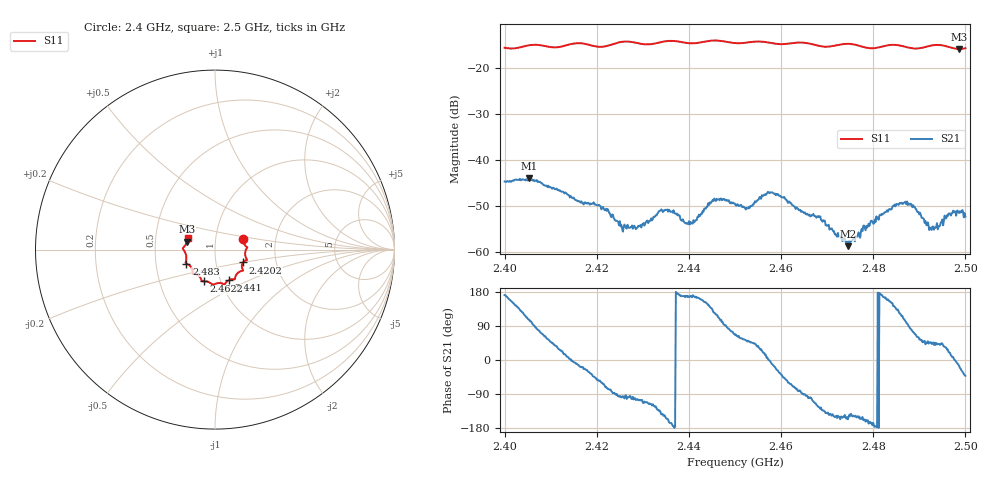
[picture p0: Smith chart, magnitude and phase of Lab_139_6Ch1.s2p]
# Hz S RI R 50
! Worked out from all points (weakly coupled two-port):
!   601 points, 2.4 GHz to 2.5 GHz, reference 50 ohm
!   highest |S21| = -44.02 dB at 2.4053 GHz (marker M1); lowest = -58.8 dB at 2.4745 GHz (marker M2)
!   lowest |S11| = -15.8 dB at 2.4987 GHz (marker M3), VSWR 1.39, Z = 36.4 + j3.27 ohm
!   |S11| at or under -10 dB: start of sweep to end of sweep
!   S12 and S22 are empty: the file has one direction only
!   S11 on the Smith chart (normalised r, x): 2.4 GHz: 1.36, +0.17; 2.4202 GHz: 1.35, -0.20; 2.441 GHz: 1.09, -0.39; 2.4622 GHz: 0.83, -0.30; 2.483 GHz: 0.72, -0.12; 2.5 GHz: 0.73, +0.09
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2.4e9  0.1561 0.0601  -0.00576 0.000894  0 0  0 0
2.405333e9  0.1776 0.0149  -0.00179 0.00603  0 0  0 0
2.416667e9  0.1775 -0.0584  0.00336 -0.00109  0 0  0 0
2.420167e9  0.1561 -0.0718  0.00201 -0.0025  0 0  0 0
2.426e9  0.1571 -0.1159  -0.000385 -0.00193  0 0  0 0
2.429167e9  0.1422 -0.1205  -0.000536 -0.00181  0 0  0 0
2.433333e9  0.113 -0.1525  -0.00175 -0.002  0 0  0 0
2.436167e9  0.1105 -0.1653  -0.00265 -0.000637  0 0  0 0
2.441e9  0.0767 -0.1705  -0.00217 0.000414  0 0  0 0
2.4455e9  0.0529 -0.1937  -0.00217 0.00311  0 0  0 0
2.45e9  0.0268 -0.1861  0.00134 0.00306  0 0  0 0
2.452833e9  0.00085 -0.1912  0.00185 0.0023  0 0  0 0
2.457667e9  -0.0225 -0.188  0.00442 -0.000289  0 0  0 0
2.462167e9  -0.0633 -0.1763  0.00151 -0.00303  0 0  0 0
2.466667e9  -0.0765 -0.1667  -0.000583 -0.00243  0 0  0 0
2.4745e9  -0.1252 -0.136  -0.00105 -0.000458  0 0  0 0
2.483e9  -0.1595 -0.078  -0.00262 0.00104  0 0  0 0
2.483333e9  -0.1611 -0.0773  -0.00264 0.00108  0 0  0 0
2.487833e9  -0.1594 -0.0499  0.000155 0.00328  0 0  0 0
2.492667e9  -0.1774 0.00159  0.00128 0.00117  0 0  0 0
2.498667e9  -0.1561 0.0438  0.00253 -0.000748  0 0  0 0
2.5e9  -0.1532 0.0627  0.0018 -0.00161  0 0  0 0
